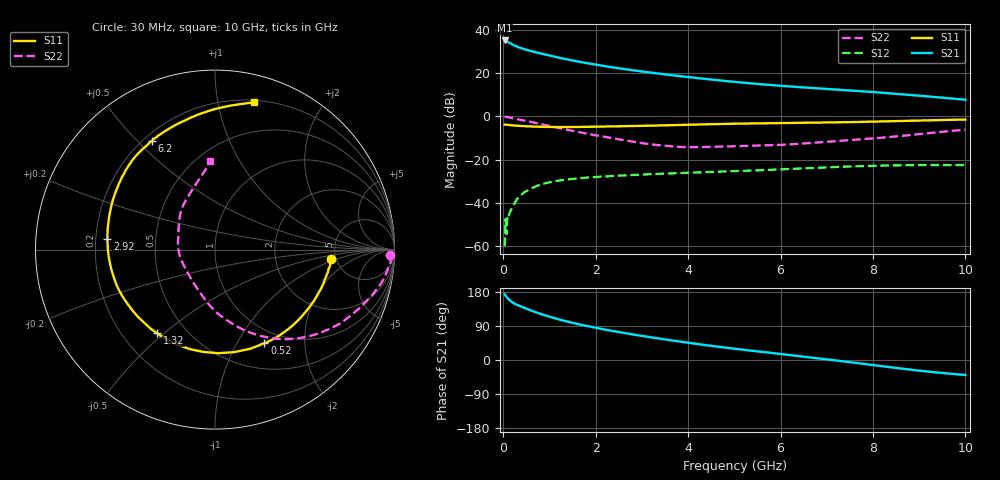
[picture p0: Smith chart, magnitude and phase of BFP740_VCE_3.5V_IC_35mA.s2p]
! Infineon Technologies  Discrete & RF Semiconductors
! BFP740
! VCE =  3.5 V,  IC =  35 mA
! Common Emitter S-Parameters:  Jan 2016
# GHz  S  MA  R  50
!  f  S11  S21  S12  S22
! GHz  MAG  ANG  MAG  ANG  MAG  ANG  MAG  ANG
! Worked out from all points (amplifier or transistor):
!   229 points, 30 MHz to 10 GHz, reference 50 ohm
!   highest |S21| = 35.1 dB at 30 MHz (marker M1)
!   |S21| within 3 dB of that: start of sweep to 314.5 MHz
!   unconditionally stable (mu >= 1): 5.848 GHz to 7.757 GHz
!   at 280 MHz: K = 0.32, MSG = 35.6 dB, |S12| = -38.9 dB
!   at 1.78 GHz: K = 0.53, MSG = 26.6 dB, |S12| = -28.4 dB
!   at 10 GHz: K = 0.98, MSG = 15.1 dB, |S12| = -22.5 dB
!   S11 on the Smith chart (normalised r, x): 30 MHz: 4.50, -0.78; 520 MHz: 0.82, -1.31; 1.32 GHz: 0.35, -0.47; 2.92 GHz: 0.25, +0.05; 6.2 GHz: 0.23, +0.55; 10 GHz: 0.22, +1.28
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0.03  0.6455 -4.5  57 173.8  0.001 27.3  0.9742 -1.9
0.06  0.6456 -8.6  55.88 168.4  0.0034 84.1  0.9749 -5.1
0.09  0.6376 -12.8  53.73 163.7  0.0045 78.1  0.9629 -8.1
0.12  0.6336 -16.9  51.55 159.7  0.0048 76.7  0.9495 -10.6
0.16  0.6269 -22.0  48.64 155.5  0.0067 79.7  0.9289 -13.7
0.2  0.6216 -27.0  46 151.9  0.0079 79.3  0.9099 -16.4
0.3  0.6094 -38.6  40.93 145.4  0.0123 73.5  0.8653 -22.5
0.4  0.6006 -49.6  37.4 140.1  0.0158 68.8  0.8256 -28.1
0.52  0.5896 -62.2  34.23 134.3  0.0193 63.3  0.779 -34.4
0.7  0.5812 -79.5  30.46 126.2  0.0241 56.2  0.7099 -43.1
0.9  0.5739 -96.4  27.06 117.9  0.0283 49.8  0.6356 -51.8
1.12  0.5685 -112.2  23.88 109.9  0.0318 44.4  0.5622 -60.0
1.32  0.5668 -124.6  21.46 103.4  0.034 40.7  0.5057 -66.6
1.7  0.5715 -143.9  17.9 92.5  0.0375 34.9  0.4189 -77.5
2.24  0.5849 -165.2  14.28 79.3  0.0411 29.3  0.3297 -92.2
2.92  0.6028 174.4  11.22 65.2  0.0447 24.8  0.2485 -110.7
3.4  0.6185 162.3  9.652 56.1  0.0472 22.0  0.2147 -127.0
5.1  0.6799 131.8  6.149 28.4  0.0546 14.8  0.2053 177.5
6.2  0.7009 119.9  4.928 13.2  0.061 11.0  0.226 154.4
6.8  0.7161 113.0  4.452 4.7  0.0652 7.6  0.249 143.5
8.4  0.7765 91.8  3.398 -19.4  0.0737 -4.1  0.3365 115.6
10  0.8486 75.1  2.433 -39.6  0.0746 -14.3  0.4925 93.2
